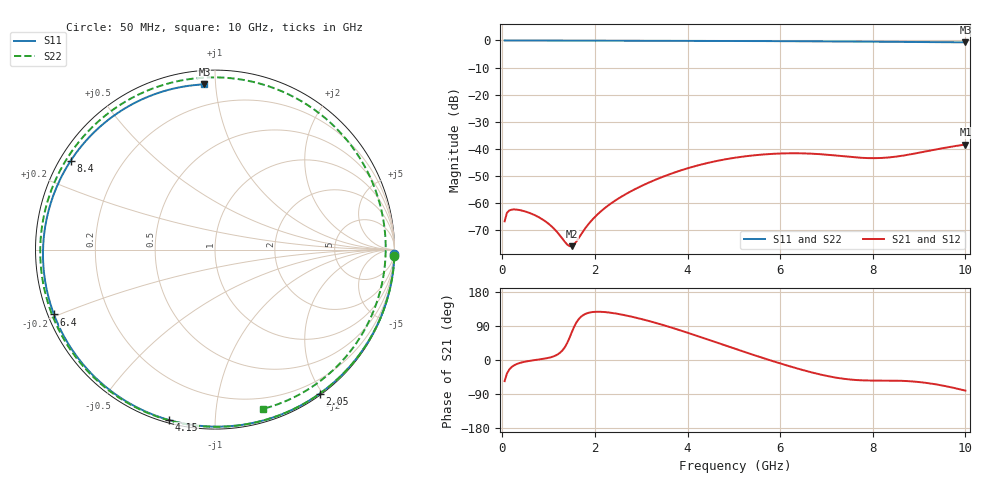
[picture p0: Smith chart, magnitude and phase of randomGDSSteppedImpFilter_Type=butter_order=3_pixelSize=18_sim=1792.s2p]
! freq	dB(S11)	phase(S11)	dB(S12)	phase(S12)
!  dB(S21)	phase(S21)	dB(S22)	phase(S22)
!S-par simulation data
#  GHz  S  DB  R 50
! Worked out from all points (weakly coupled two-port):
!   200 points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, 50 MHz to 10 GHz, reference 50 ohm
!   highest |S21| = -38.47 dB at 10 GHz (marker M1); lowest = -76.0 dB at 1.5 GHz (marker M2)
!   lowest |S11| = -0.7 dB at 10 GHz (marker M3), VSWR 24.78, Z = 3.79 + j46.7 ohm
!   |S11| at or under -10 dB: nowhere
!   |S22| runs from -0.7 to 0.0 dB; largest |S21 - S12| = 0
!   S11 on the Smith chart (normalised r, x): 50 MHz: 0, -85; 2.05 GHz: 0.02, -1.96; 4.15 GHz: 0.01, -0.77; 6.4 GHz: 0.02, -0.19; 8.4 GHz: 0.03, +0.28; 10 GHz: 0.08, +0.93
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0.05  -0.00 -1.4  -66.85 -55.7  -66.85 -55.7  -0.00 -2.2
0.1  -0.00 -2.7  -63.72 -35.8  -63.72 -35.8  -0.00 -4.4
0.2  -0.00 -5.4  -62.53 -18.6  -62.53 -18.6  -0.00 -8.8
0.6  -0.01 -16.1  -63.82 -2.1  -63.82 -2.1  -0.03 -26.3
1  -0.03 -26.8  -67.76 5.7  -67.76 5.7  -0.05 -43.5
1.5  -0.05 -39.8  -76.03 73.1  -76.03 73.1  -0.08 -64.5
1.75  -0.06 -46.3  -70.42 118.7  -70.42 118.7  -0.09 -74.9
2.05  -0.07 -53.9  -64.38 127.3  -64.38 127.3  -0.11 -87.1
2.7  -0.09 -70.2  -56.46 116.8  -56.46 116.8  -0.14 -113.2
3.4  -0.11 -87.3  -50.83 94.9  -50.83 94.9  -0.17 -140.9
4.15  -0.15 -105.1  -46.51 65.9  -46.51 65.9  -0.22 -171.1
4.6  -0.17 -115.6  -44.65 47.3  -44.65 47.3  -0.25 170.2
5.05  -0.19 -126.1  -43.27 28.6  -43.27 28.6  -0.28 150.7
5.8  -0.24 -143.7  -41.94 -1.4  -41.94 -1.4  -0.33 116.4
6.4  -0.29 -158.1  -41.70 -23.5  -41.70 -23.5  -0.36 87.2
6.7  -0.32 -165.5  -41.86 -33.3  -41.86 -33.3  -0.37 72.2
7.55  -0.40 172.5  -43.10 -52.0  -43.10 -52.0  -0.41 29.9
7.95  -0.45 161.5  -43.50 -54.3  -43.50 -54.3  -0.42 10.7
8.35  -0.49 149.8  -43.23 -54.3  -43.23 -54.3  -0.45 -7.6
8.4  -0.50 148.3  -43.14 -54.4  -43.14 -54.4  -0.45 -9.9
9.2  -0.60 122.6  -40.82 -61.2  -40.82 -61.2  -0.53 -43.3
10  -0.70 93.7  -38.47 -80.9  -38.47 -80.9  -0.66 -73.1
